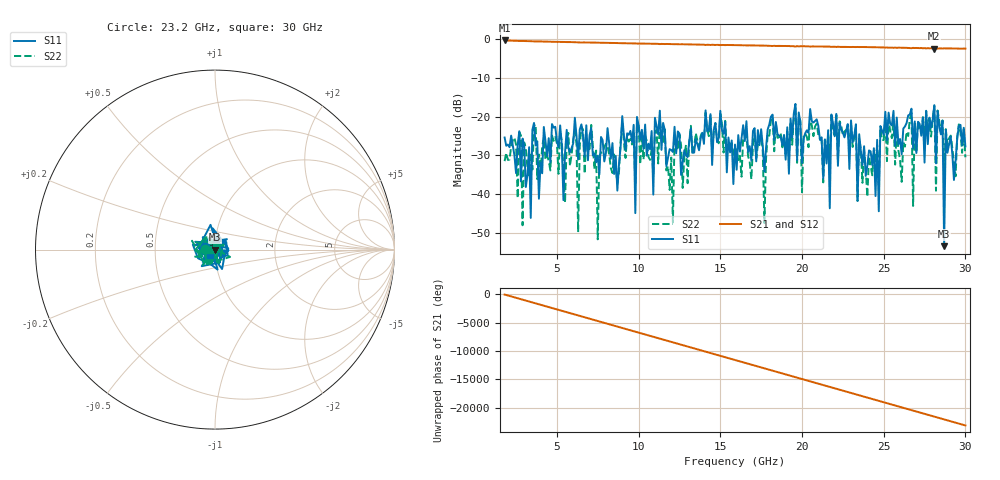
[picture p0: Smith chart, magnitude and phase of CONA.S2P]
! C:\Users\Focus\Desktop\Focus Traning\LOW FREQUENCY TUNERS\LOAD-PULL CALIBRATION\02-08-2024\focus_TRL\CONA.S2P
! TRL calculation phase shifted with thru length of 1.100000 ps
# GHZ S MA R 50
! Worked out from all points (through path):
!   283 points, 1.8 GHz to 30 GHz, reference 50 ohm
!   highest |S21| = -0.45 dB at 1.8 GHz (marker M1); lowest = -2.6 dB at 28.1 GHz (marker M2)
!   lowest |S11| = -53.3 dB at 28.7 GHz (marker M3), VSWR 1.00, Z = 49.8 - j0.111 ohm
!   |S11| at or under -10 dB: start of sweep to end of sweep
!   |S22| runs from -51.5 to -17.2 dB; largest |S21 - S12| = 0
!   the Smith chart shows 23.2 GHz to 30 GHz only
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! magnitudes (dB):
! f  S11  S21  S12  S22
! 1.8 GHz  -25.4  -0.5  -0.5  -31.5
! 3.4 GHz  -46.1  -0.6  -0.6  -29.5
! 3.6 GHz  -21.6  -0.7  -0.7  -22.3
! 6.1 GHz  -20.3  -0.9  -0.9  -23.7
! 6.3 GHz  -31.0  -0.9  -0.9  -49.7
! 6.5 GHz  -22.0  -1.0  -1.0  -22.6
! 7.5 GHz  -30.1  -1.0  -1.0  -51.5
! 9 GHz  -19.9  -1.2  -1.2  -21.7
! 9.8 GHz  -44.8  -1.2  -1.2  -37.2
! 9.9 GHz  -20.1  -1.3  -1.3  -22.5
! 11.2 GHz  -24.6  -1.3  -1.3  -32.1
! 15.9 GHz  -27.2  -1.6  -1.6  -31.6
! 20.6 GHz  -21.2  -2.0  -2.0  -22.3
! 24.7 GHz  -44.3  -2.2  -2.2  -37.5
! 25.3 GHz  -19.0  -2.3  -2.3  -20.8
! 26.7 GHz  -18.0  -2.4  -2.4  -19.1
! 26.8 GHz  -28.2  -2.4  -2.4  -43.0
! 28.1 GHz  -17.1  -2.6  -2.6  -17.2
! 28.6 GHz  -21.1  -2.5  -2.5  -21.0
! 28.7 GHz  -53.3  -2.5  -2.5  -35.0
! 28.8 GHz  -23.3  -2.5  -2.5  -23.2
! 30 GHz  -27.7  -2.6  -2.6  -30.5
